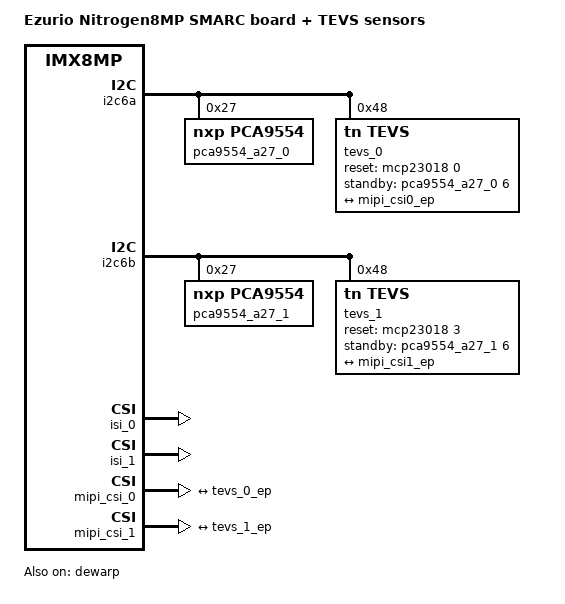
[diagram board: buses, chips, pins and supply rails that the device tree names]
// SPDX-License-Identifier: (GPL-2.0+ OR MIT)
/*
 * Copyright 2024 Ezurio LLC
 */

#include "imx8mp-nitrogen_smarc.dts"

/ {
	model = "Ezurio Nitrogen8MP SMARC board + TEVS sensors";
	compatible = "ezurio,imx8mp-nitrogen_smarc-tevs", "fsl,imx8mp";

};

&dewarp {
	status = "okay";
};

&i2c6a {
	/delete-node/ camera@10;

	pca9554_a27_0: pca9554@27 {
		compatible = "nxp,pca9554";
		pinctrl-names = "default";
		reg = <0x27>;
		gpio-controller;
		#gpio-cells = <2>;
		status = "okay";
		gpio-line-names = "EXPOSURE_TRIG_IN0", "FLASH_OUT0",
				"CAM_SHUTTER0", "XVS0",	"CSI0_PDB",
				"CSI0_INT", "INFO_TRIG_IN0", "CSI0_RST_N";
	};

	tevs_0: camera@48 {
		compatible = "tn,tevs";
		reg = <0x48>;
		reset-gpios = <&mcp23018 0 GPIO_ACTIVE_HIGH>;
		standby-gpios = <&pca9554_a27_0 6 GPIO_ACTIVE_HIGH>;
		data-lanes = <4>;
		data-frequency = <800>;
		continuous-clock = <0>;
		status = "okay";

		port {
			tevs_0_ep: endpoint {
				remote-endpoint = <&mipi_csi0_ep>;
			};
		};
	};
};


&i2c6b {
	/delete-node/ camera@10;

	pca9554_a27_1: pca9554@27 {
		compatible = "nxp,pca9554";
		pinctrl-names = "default";
		reg = <0x27>;
		gpio-controller;
		#gpio-cells = <2>;
		status = "okay";
		gpio-line-names = "EXPOSURE_TRIG_IN1", "FLASH_OUT1",
				"CAM_SHUTTER1", "XVS1",	"CSI1_PDB",
				"CSI1_INT", "INFO_TRIG_IN1", "CSI1_RST_N";
	};

	tevs_1: camera@48 {
		compatible = "tn,tevs";
		reg = <0x48>;
		reset-gpios = <&mcp23018 3 GPIO_ACTIVE_HIGH>;
		standby-gpios = <&pca9554_a27_1 6 GPIO_ACTIVE_HIGH>;
		data-lanes = <4>;
		data-frequency = <800>;
		continuous-clock = <0>;
		status = "okay";

		port {
			tevs_1_ep: endpoint {
				remote-endpoint = <&mipi_csi1_ep>;
			};
		};
	};
};

&isi_0 {
	status = "okay";

	cap_device {
		status = "okay";
	};

	m2m_device {
		status = "okay";
	};
};

&isi_1 {
	status = "okay";

	cap_device {
		status = "okay";
	};
};

&isp_0 {
	status = "disabled";
};

&isp_1 {
	status = "disabled";
};

&mipi_csi_0 {
	#address-cells = <1>;
	#size-cells = <0>;
	status = "okay";

	port@0 {
		reg = <0>;
		mipi_csi0_ep: endpoint {
			remote-endpoint = <&tevs_0_ep>;
			data-lanes = <4>;
			csis-hs-settle = <13>;
			csis-clk-settle = <2>;
			csis-wclk;
		};
	};
};


&mipi_csi_1 {
	#address-cells = <1>;
	#size-cells = <0>;
	status = "okay";

	port@1 {
		reg = <1>;
		mipi_csi1_ep: endpoint {
			remote-endpoint = <&tevs_1_ep>;
			data-lanes = <4>;
			csis-hs-settle = <13>;
			csis-clk-settle = <2>;
			csis-wclk;
		};
	};
};
